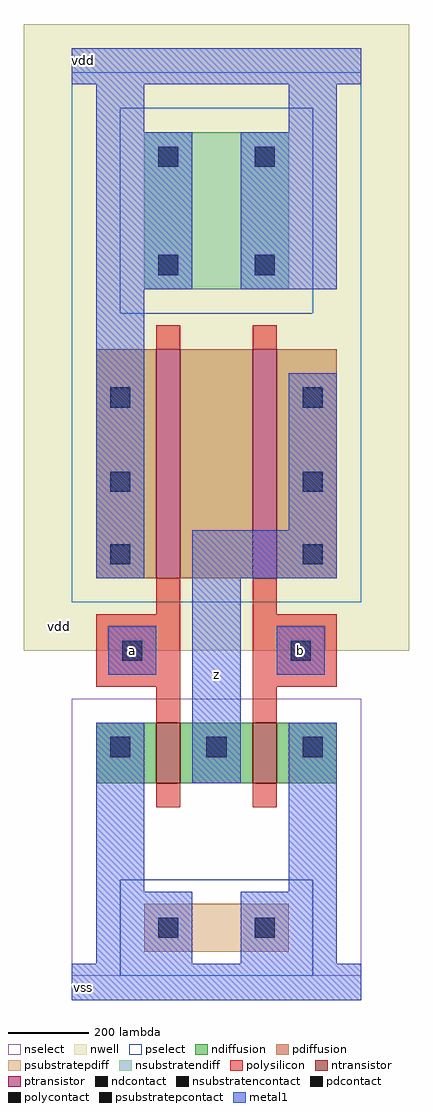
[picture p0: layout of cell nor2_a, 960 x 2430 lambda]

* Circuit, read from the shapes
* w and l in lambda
.subckt nor2_a z a b vdd vss
M1 z a vss vss nfet w=150 l=60
M2 vss b z vss nfet w=150 l=60
M3 n1 a vdd vdd pfet w=570 l=60
M4 z b n1 vdd pfet w=570 l=60
.ends

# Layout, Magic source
magic
tech amic5n
<< nwell >>
rect -30 870 930 2430
<< nselect >>
rect 210 1710 690 2220
rect 90 300 810 750
rect 90 60 210 300
rect 690 60 810 300
<< pselect >>
rect 90 2220 810 2310
rect 90 1710 210 2220
rect 690 1710 810 2220
rect 90 990 810 1710
rect 210 60 690 300
<< ntransistor >>
rect 300 540 360 690
rect 540 540 600 690
<< ptransistor >>
rect 300 1050 360 1620
rect 540 1050 600 1620
<< ndiffusion >>
rect 150 540 300 690
rect 360 540 540 690
rect 600 540 750 690
<< pdiffusion >>
rect 150 1050 300 1620
rect 360 1050 540 1620
rect 600 1050 750 1620
<< psubstratepdiff >>
rect 270 120 630 240
<< nsubstratendiff >>
rect 270 1770 630 2160
<< polysilicon >>
rect 300 1620 360 1680
rect 540 1620 600 1680
rect 300 960 360 1050
rect 150 780 360 960
rect 300 690 360 780
rect 540 960 600 1050
rect 540 780 750 960
rect 540 690 600 780
rect 300 480 360 540
rect 540 480 600 540
<< nsubstratencontact >>
rect 305 2075 355 2125
<< nsubstratencontact >>
rect 545 2075 595 2125
<< nsubstratencontact >>
rect 305 1805 355 1855
<< nsubstratencontact >>
rect 545 1805 595 1855
<< pdcontact >>
rect 185 1475 235 1525
<< pdcontact >>
rect 665 1475 715 1525
<< pdcontact >>
rect 185 1265 235 1315
<< pdcontact >>
rect 665 1265 715 1315
<< pdcontact >>
rect 185 1085 235 1135
<< pdcontact >>
rect 665 1085 715 1135
<< polycontact >>
rect 215 845 265 895
<< polycontact >>
rect 635 845 685 895
<< ndcontact >>
rect 185 605 235 655
<< ndcontact >>
rect 425 605 475 655
<< ndcontact >>
rect 665 605 715 655
<< psubstratepcontact >>
rect 305 155 355 205
<< psubstratepcontact >>
rect 545 155 595 205
<< metal1 >>
rect 90 2280 810 2370
rect 150 2160 270 2280
rect 630 2160 750 2280
rect 150 1770 390 2160
rect 510 1770 750 2160
rect 150 1050 270 1770
rect 630 1170 750 1560
rect 390 1050 750 1170
rect 180 810 300 930
rect 150 270 270 690
rect 390 540 510 1050
rect 600 810 720 930
rect 630 270 750 690
rect 150 90 390 270
rect 510 90 750 270
rect 90 0 810 90
<< labels >>
flabel nwell  60 930 60 930 2 FreeSans 400 0 0 0 vdd
flabel metal1 s 120 30 120 30 2 FreeSans 400 0 0 0 vss
port 5 ne
flabel metal1 s 120 2340 120 2340 2 FreeSans 400 0 0 0 vdd
port 4 ne
flabel metal1 s 660 870 660 870 2 FreeSans 400 0 0 0 b
port 3 ne
flabel metal1 s 240 870 240 870 2 FreeSans 400 0 0 0 a
port 2 ne
flabel metal1 s 450 810 450 810 8 FreeSans 400 0 0 0 z
port 1 ne
<< end >>
